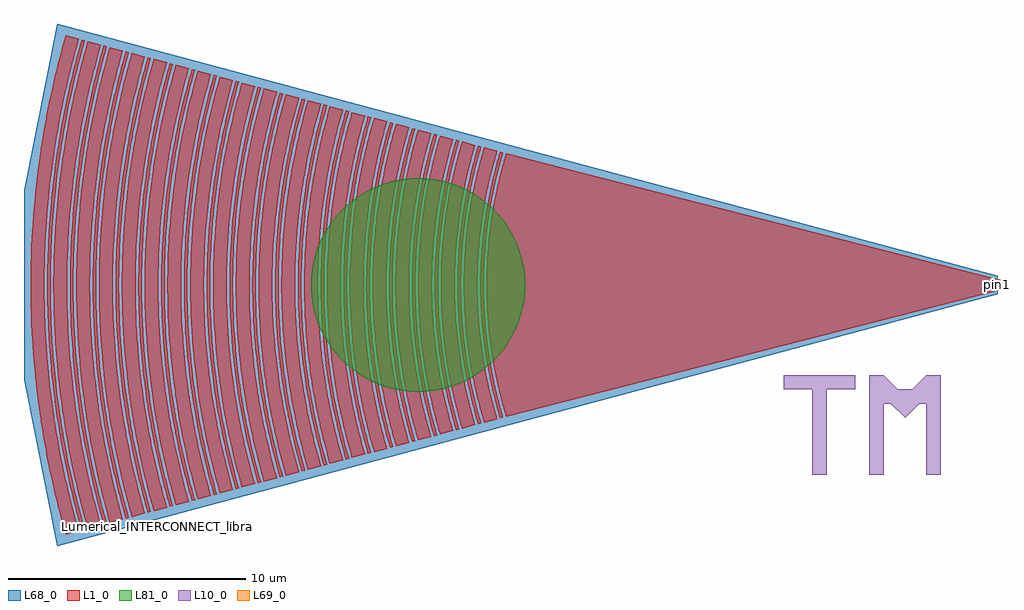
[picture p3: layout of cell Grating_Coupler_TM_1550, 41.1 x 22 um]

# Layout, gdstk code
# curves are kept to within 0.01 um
import gdstk
lib = gdstk.Library(unit=1e-6, precision=1e-09)
def P(c, l, *ps):  # polygons
    for p in ps: c.add(gdstk.Polygon(p, *l))
L1_0 = (1, 0)
L10_0 = (10, 0)
L68_0 = (68, 0)
L69_0 = (69, 0)
L81_0 = (81, 0)

tm1550_subgc_10degree_ox = lib.new_cell('TM1550_SubGC_10degree_oxide')
P(tm1550_subgc_10degree_ox, L1_0, [(-21.903,-4.771),(-22.159,-3.569),(-22.312,-2.582),(-22.429,-1.411),(-22.478,-0.177),(-22.473,0.471),(-22.444,1.176),(-22.341,2.348),(-22.159,3.569),(-21.903,4.771)],
  [(-21.64,-2.331),(-21.744,-1.197),(-21.781,-0.057),(-21.751,1.083),(-21.69,1.879),(-21.64,2.331)],
  [(-22.552,-6.043),(-22.735,-5.395),(-22.911,-4.682),(-23.062,-3.963),(-23.188,-3.238),(-23.281,-2.57),(-23.378,-1.594),(-23.421,-0.859),(-23.438,-0.184),(-23.433,0.491),(-23.387,1.471),(-23.329,2.144),(-23.233,2.935),(-23.128,3.601),(-22.951,4.503),(-22.766,5.277),(-22.552,6.043),(-21.996,5.894),(-22.16,5.32),(-22.334,4.625),(-22.56,3.513),(-22.654,2.922),(-22.744,2.21),(-22.8,1.614),(-22.844,0.898),(-22.863,0.18),(-22.849,-0.778),(-22.8,-1.614),(-22.702,-2.566),(-22.56,-3.513),(-22.412,-4.275),(-22.25,-4.973),(-21.996,-5.894)],
  [(-22.6,-2.393),(-22.699,-1.309),(-22.741,-0.06),(-22.713,1.071),(-22.668,1.724),(-22.6,2.393)],
  [(-24.397,-0.192),(-24.398,-0.128),(-24.398,0.128),(-24.397,0.192)],
  [(-23.823,-4.994),(-24.043,-3.937),(-24.243,-2.612),(-24.345,-1.532),(-24.397,-0.255),(-24.375,1.022),(-24.285,2.231),(-24.211,2.866),(-24.098,3.623),(-23.946,4.438),(-23.823,4.994)],
  [(-23.56,-2.44),(-23.665,-1.24),(-23.701,-0.062),(-23.672,1.116),(-23.62,1.859),(-23.56,2.44)],
  [(-24.782,-5.109),(-25.025,-3.896),(-25.205,-2.649),(-25.308,-1.526),(-25.347,-0.73),(-25.358,-0.133),(-25.331,1.128),(-25.278,1.923),(-25.22,2.517),(-25.047,3.766),(-24.929,4.418),(-24.782,5.109)],
  [(-24.52,-2.496),(-24.62,-1.355),(-24.661,-0.065),(-24.655,0.516),(-24.62,1.355),(-24.52,2.496)],
  [(-25.742,-5.214),(-25.962,-4.112),(-26.16,-2.749),(-26.275,-1.446),(-26.318,-0.138),(-26.29,1.171),(-26.19,2.476),(-26.008,3.84),(-25.874,4.586),(-25.742,5.214)],
  [(-25.48,-2.551),(-25.586,-1.274),(-25.621,-0.067),(-25.615,0.537),(-25.586,1.274),(-25.48,2.551)],
  [(-26.702,-5.321),(-26.833,-4.683),(-26.969,-3.91),(-27.138,-2.637),(-27.204,-1.926),(-27.249,-1.214),(-27.278,-0.143),(-27.249,1.214),(-27.153,2.495),(-27.071,3.204),(-26.969,3.91),(-26.833,4.683),(-26.702,5.321)],
  [(-26.44,-2.604),(-26.545,-1.321),(-26.581,-0.07),(-26.573,0.626),(-26.545,1.321),(-26.44,2.604)],
  [(-27.662,-5.422),(-27.883,-4.267),(-28.069,-2.95),(-28.192,-1.551),(-28.238,-0.148),(-28.208,1.256),(-28.109,2.583),(-28.034,3.244),(-27.919,4.048),(-27.662,5.422)],
  [(-27.4,-2.654),(-27.46,-2.017),(-27.511,-1.225),(-27.541,-0.072),(-27.511,1.225),(-27.46,2.017),(-27.4,2.654)],
  [(-28.622,-5.522),(-28.857,-4.261),(-29.041,-2.899),(-29.155,-1.528),(-29.198,-0.153),(-29.167,1.299),(-29.065,2.671),(-28.881,4.11),(-28.622,5.522)],
  [(-28.36,-2.702),(-28.429,-1.938),(-28.47,-1.268),(-28.501,-0.075),(-28.47,1.268),(-28.429,1.938),(-28.36,2.702)],
  [(-29.582,-5.618),(-29.819,-4.324),(-29.921,-3.621),(-30.013,-2.837),(-30.118,-1.499),(-30.158,-0.158),(-30.13,1.263),(-30.021,2.759),(-29.855,4.09),(-29.741,4.79),(-29.582,5.618)],
  [(-29.32,-2.752),(-29.417,-1.542),(-29.45,-0.771),(-29.461,-0.077),(-29.433,1.234),(-29.381,2.08),(-29.32,2.752)],
  [(-30.542,-5.717),(-30.794,-4.3),(-30.977,-2.846),(-31.077,-1.547),(-31.118,-0.163),(-31.089,1.303),(-30.985,2.765),(-30.794,4.3),(-30.542,5.717)],
  [(-30.28,-2.802),(-30.38,-1.512),(-30.421,-0.08),(-30.392,1.274),(-30.356,1.91),(-30.28,2.802)],
  [(-31.503,-5.807),(-31.757,-4.35),(-31.933,-2.934),(-32.04,-1.511),(-32.078,-0.168),(-32.052,1.259),(-32.01,2.014),(-31.933,2.934),(-31.757,4.35),(-31.503,5.807)],
  [(-31.24,-2.85),(-31.339,-1.56),(-31.381,-0.082),(-31.355,1.232),(-31.314,1.97),(-31.24,2.85)],
  [(-32.463,-5.901),(-32.721,-4.395),(-32.889,-3.022),(-32.999,-1.556),(-33.038,-0.173),(-33.034,0.519),(-32.999,1.556),(-32.889,3.022),(-32.721,4.395),(-32.463,5.901)],
  [(-32.2,-2.895),(-32.298,-1.608),(-32.329,-0.847),(-32.341,-0.085),(-32.314,1.27),(-32.272,2.03),(-32.2,2.895)],
  [(-33.423,-5.993),(-33.633,-4.787),(-33.836,-3.198),(-33.907,-2.401),(-33.958,-1.601),(-33.998,-0.178),(-33.974,1.246),(-33.938,1.957),(-33.862,2.933),(-33.685,4.435),(-33.577,5.138),(-33.423,5.993)],
  [(-33.16,-2.94),(-33.261,-1.569),(-33.301,-0.087),(-33.291,0.785),(-33.261,1.569),(-33.16,2.94)],
  [(-34.383,-6.082),(-34.624,-4.651),(-34.742,-3.743),(-34.818,-3.016),(-34.917,-1.647),(-34.958,-0.183),(-34.948,0.824),(-34.917,1.647),(-34.818,3.016),(-34.742,3.743),(-34.624,4.651),(-34.383,6.082)],
  [(-34.12,-2.989),(-34.22,-1.614),(-34.261,-0.09),(-34.251,0.807),(-34.22,1.614),(-34.12,2.989)],
  [(-35.343,-6.174),(-35.575,-4.778),(-35.766,-3.192),(-35.871,-1.786),(-35.918,-0.188),(-35.889,1.41),(-35.783,3.005),(-35.627,4.406),(-35.505,5.243),(-35.343,6.174)],
  [(-35.08,-3.028),(-35.14,-2.303),(-35.188,-1.475),(-35.221,-0.092),(-35.213,0.738),(-35.188,1.475),(-35.14,2.303),(-35.08,3.028)],
  [(-36.303,-6.261),(-36.567,-4.619),(-36.722,-3.277),(-36.794,-2.412),(-36.844,-1.544),(-36.878,-0.193),(-36.872,0.676),(-36.844,1.544),(-36.74,3.085),(-36.567,4.619),(-36.303,6.261)],
  [(-36.04,-3.079),(-36.147,-1.515),(-36.181,-0.095),(-36.147,1.515),(-36.04,3.079)],
  [(-37.263,-6.35),(-37.506,-4.838),(-37.678,-3.363),(-37.783,-1.98),(-37.822,-1.089),(-37.838,-0.198),(-37.832,0.693),(-37.803,1.584),(-37.705,3.067),(-37.594,4.15),(-37.506,4.838),(-37.263,6.35)],
  [(-37,-3.117),(-37.097,-1.749),(-37.13,-0.875),(-37.141,-0.097),(-37.13,0.875),(-37.106,1.555),(-37,3.117)],
  [(-38.223,-6.436),(-38.458,-4.961),(-38.644,-3.347),(-38.71,-2.537),(-38.762,-1.625),(-38.798,-0.203),(-38.795,0.508),(-38.762,1.625),(-38.662,3.145),(-38.485,4.759),(-38.354,5.664),(-38.223,6.436)],
  [(-37.96,-3.165),(-38.056,-1.795),(-38.09,-0.898),(-38.101,-0.1),(-38.09,0.898),(-38.065,1.595),(-37.96,3.165)],
  [(-39.183,-6.522),(-39.438,-4.877),(-39.61,-3.326),(-39.675,-2.496),(-39.726,-1.561),(-39.758,-0.208),(-39.755,0.52),(-39.726,1.561),(-39.628,3.119),(-39.549,3.947),(-39.438,4.877),(-39.183,6.522)],
  [(-38.92,-3.2),(-38.992,-2.248),(-39.029,-1.533),(-39.061,-0.102),(-39.029,1.533),(-38.992,2.248),(-38.92,3.2)],
  [(-40.143,-6.604),(-40.362,-5.206),(-40.547,-3.619),(-40.665,-2.024),(-40.697,-1.279),(-40.718,-0.213),(-40.715,0.533),(-40.685,1.599),(-40.585,3.194),(-40.418,4.784),(-40.286,5.733),(-40.143,6.604)],
  [(-39.88,-3.243),(-39.979,-1.78),(-40.021,-0.105),(-40.014,0.733),(-39.988,1.571),(-39.937,2.513),(-39.88,3.243)],
  [(-20.697,-5.546),(-20.881,-4.898),(-21.042,-4.243),(-21.159,-3.693),(-21.295,-2.917),(-21.386,-2.248),(-21.449,-1.632),(-21.5,-0.845),(-21.518,-0.169),(-21.512,0.507),(-21.471,1.351),(-21.399,2.136),(-21.32,2.75),(-21.201,3.472),(-21.067,4.133),(-20.881,4.898),(-20.697,5.546),(0,0.25),(0,-0.25)],
  [(-21.903,0.172),(-21.903,4.771),(-21.624,5.794),(-21.069,5.645),(-21.256,4.985),(-21.407,4.375),(-21.56,3.647),(-21.685,2.913),(-21.769,2.288),(-21.833,1.661),(-21.882,0.917)],
  [(-31.24,0.245),(-31.24,2.85),(-31.145,3.686),(-30.976,4.823),(-30.762,5.952),(-30.523,6.991),(-30.223,8.098),(-30.088,8.062),(-30.367,7.039),(-30.641,5.845),(-30.824,4.882),(-31.006,3.67),(-31.099,2.858),(-31.174,1.961),(-31.215,1.226)],
  [(-26.44,0.208),(-26.44,2.604),(-26.396,2.984),(-26.256,3.947),(-26.078,4.904),(-25.861,5.852),(-25.587,6.856),(-25.452,6.82),(-25.708,5.888),(-25.926,4.946),(-26.129,3.858),(-26.257,2.968),(-26.339,2.212),(-26.393,1.522)],
  [(-32.463,0.17),(-32.463,5.901),(-32.18,7.193),(-31.824,8.527),(-31.269,8.379),(-31.558,7.315),(-31.753,6.489),(-31.972,5.408),(-32.151,4.318),(-32.29,3.223),(-32.376,2.292),(-32.44,1.19)],
  [(-24.782,0.26),(-24.782,5.109),(-24.586,5.903),(-24.406,6.54),(-23.851,6.391),(-24.06,5.643),(-24.243,4.888),(-24.363,4.318),(-24.52,3.424),(-24.618,2.718),(-24.71,1.815),(-24.765,0.908)],
  [(-32.2,0.253),(-32.2,2.895),(-32.109,3.715),(-31.896,5.137),(-31.687,6.217),(-31.459,7.205),(-31.151,8.347),(-31.016,8.311),(-31.302,7.255),(-31.584,6.025),(-31.8,4.866),(-31.97,3.699),(-32.079,2.694),(-32.138,1.937),(-32.181,1.096)],
  [(-27.662,0.29),(-27.662,5.422),(-27.442,6.361),(-27.188,7.285),(-26.633,7.136),(-26.864,6.301),(-27.066,5.457),(-27.226,4.678),(-27.383,3.751),(-27.489,2.962),(-27.588,1.953),(-27.637,1.158)],
  [(-33.423,0.175),(-33.423,5.993),(-33.117,7.402),(-32.752,8.776),(-32.196,8.627),(-32.493,7.531),(-32.731,6.511),(-32.934,5.482),(-33.115,4.36),(-33.245,3.318),(-33.34,2.273),(-33.406,1.05)],
  [(-21.64,0.17),(-21.64,2.331),(-21.619,2.501),(-21.5,3.29),(-21.36,4.017),(-21.151,4.903),(-20.951,5.614),(-20.815,5.577),(-21.015,4.871),(-21.187,4.157),(-21.322,3.492),(-21.425,2.878),(-21.521,2.148),(-21.585,1.471),(-21.627,0.736)],
  [(-33.16,0.26),(-33.16,2.94),(-33.052,3.912),(-32.873,5.118),(-32.647,6.316),(-32.373,7.504),(-32.078,8.595),(-31.943,8.559),(-32.279,7.304),(-32.527,6.205),(-32.72,5.182),(-32.89,4.068),(-33.002,3.12),(-33.078,2.255),(-33.137,1.215)],
  [(-27.4,0.215),(-27.4,2.654),(-27.341,3.163),(-27.217,4.019),(-27.021,5.081),(-26.815,5.994),(-26.514,7.104),(-26.379,7.068),(-26.626,6.172),(-26.869,5.126),(-27.067,4.069),(-27.202,3.147),(-27.289,2.363),(-27.351,1.577)],
  [(-34.383,0.18),(-34.383,6.082),(-34.075,7.523),(-33.679,9.024),(-33.124,8.875),(-33.384,7.922),(-33.653,6.786),(-33.849,5.816),(-34.054,4.574),(-34.21,3.324),(-34.291,2.428),(-34.355,1.35)],
  [(-24.52,0.193),(-24.52,2.496),(-24.48,2.832),(-24.347,3.726),(-24.191,4.549),(-23.973,5.49),(-23.732,6.359),(-23.597,6.323),(-23.852,5.397),(-24.04,4.586),(-24.219,3.641),(-24.341,2.816),(-24.472,1.475)],
  [(-34.12,0.268),(-34.12,2.989),(-33.982,4.203),(-33.776,5.531),(-33.571,6.586),(-33.309,7.721),(-33.005,8.844),(-32.87,8.808),(-33.194,7.602),(-33.452,6.472),(-33.668,5.333),(-33.843,4.185),(-33.958,3.21),(-34.036,2.32),(-34.1,1.161)],
  [(-28.622,0.3),(-28.622,5.522),(-28.377,6.577),(-28.115,7.533),(-27.56,7.385),(-27.761,6.665),(-27.991,5.72),(-28.172,4.841),(-28.323,3.955),(-28.452,2.99),(-28.527,2.245),(-28.589,1.348)],
  [(-35.343,0.185),(-35.343,6.174),(-35.034,7.639),(-34.854,8.368),(-34.606,9.273),(-34.051,9.124),(-34.341,8.055),(-34.614,6.885),(-34.828,5.797),(-34.992,4.793),(-35.125,3.785),(-35.234,2.68),(-35.306,1.572)],
  [(-23.823,0.187),(-23.823,4.994),(-23.669,5.617),(-23.479,6.291),(-22.923,6.142),(-23.141,5.364),(-23.288,4.759),(-23.453,3.967),(-23.588,3.168),(-23.706,2.241),(-23.767,1.558),(-23.806,0.873)],
  [(-35.08,0.276),(-35.08,3.028),(-34.97,4.046),(-34.815,5.141),(-34.569,6.501),(-34.288,7.759),(-33.933,9.092),(-33.797,9.056),(-34.13,7.817),(-34.413,6.565),(-34.647,5.302),(-34.831,4.03),(-34.94,3.026),(-35,2.294),(-35.052,1.377)],
  [(-28.36,0.223),(-28.36,2.702),(-28.285,3.348),(-28.13,4.38),(-27.934,5.405),(-27.716,6.348),(-27.442,7.353),(-27.306,7.317),(-27.543,6.46),(-27.797,5.378),(-27.992,4.358),(-28.146,3.331),(-28.231,2.594),(-28.3,1.78),(-28.346,0.891)],
  [(-36.303,0.19),(-36.303,6.261),(-36.159,6.996),(-35.95,7.937),(-35.534,9.521),(-34.978,9.372),(-35.321,8.09),(-35.575,6.98),(-35.775,5.955),(-35.957,4.83),(-36.09,3.793),(-36.199,2.658),(-36.265,1.615)],
  [(-25.742,0.27),(-25.742,5.214),(-25.537,6.06),(-25.333,6.788),(-24.778,6.639),(-25.028,5.732),(-25.184,5.078),(-25.346,4.287),(-25.491,3.424),(-25.603,2.556),(-25.678,1.751),(-25.727,0.876)],
  [(-36.04,0.283),(-36.04,3.079),(-35.912,4.25),(-35.719,5.561),(-35.455,6.956),(-35.202,8.062),(-34.86,9.341),(-34.725,9.304),(-35.043,8.122),(-35.337,6.837),(-35.596,5.447),(-35.773,4.234),(-35.888,3.203),(-35.971,2.169),(-36.022,1.132)],
  [(-29.582,0.31),(-29.582,5.618),(-29.293,6.871),(-29.043,7.782),(-28.487,7.633),(-28.733,6.739),(-28.948,5.837),(-29.118,5.003),(-29.285,4.012),(-29.407,3.091),(-29.497,2.166),(-29.548,1.393)],
  [(-37.263,0.195),(-37.263,6.35),(-37.061,7.372),(-36.91,8.048),(-36.696,8.912),(-36.461,9.77),(-35.906,9.621),(-36.234,8.398),(-36.497,7.26),(-36.722,6.112),(-36.922,4.861),(-37.045,3.894),(-37.164,2.631),(-37.233,1.463)],
  [(-22.6,0.178),(-22.595,2.435),(-22.459,3.376),(-22.304,4.194),(-22.116,5.004),(-21.878,5.862),(-21.743,5.826),(-21.95,5.088),(-22.154,4.226),(-22.32,3.356),(-22.441,2.537),(-22.507,1.949),(-22.563,1.242)],
  [(-37,0.291),(-37,3.117),(-36.853,4.46),(-36.635,5.901),(-36.417,7.046),(-36.138,8.277),(-35.787,9.589),(-35.652,9.553),(-35.978,8.339),(-36.299,6.924),(-36.545,5.592),(-36.714,4.443),(-36.825,3.481),(-36.923,2.323),(-36.978,1.259)],
  [(-29.32,0.23),(-29.32,2.752),(-29.248,3.384),(-29.079,4.528),(-28.877,5.587),(-28.633,6.637),(-28.369,7.601),(-28.234,7.565),(-28.515,6.531),(-28.755,5.485),(-28.953,4.43),(-29.109,3.368),(-29.187,2.682),(-29.258,1.841),(-29.308,0.844)],
  [(-38.223,0.2),(-38.223,6.436),(-38.044,7.361),(-37.848,8.252),(-37.629,9.138),(-37.388,10.018),(-36.833,9.869),(-37.145,8.712),(-37.459,7.349),(-37.669,6.27),(-37.874,4.986),(-38.032,3.696),(-38.129,2.599),(-38.2,1.301)],
  [(-25.48,0.2),(-25.48,2.551),(-25.425,3.009),(-25.296,3.871),(-25.148,4.661),(-24.925,5.64),(-24.66,6.608),(-24.525,6.571),(-24.772,5.674),(-24.997,4.701),(-25.19,3.652),(-25.303,2.861),(-25.43,1.533),(-25.465,0.867)],
  [(-37.96,0.298),(-37.96,3.165),(-37.806,4.575),(-37.616,5.857),(-37.339,7.326),(-37.001,8.781),(-36.714,9.838),(-36.579,9.801),(-36.937,8.46),(-37.222,7.201),(-37.461,5.933),(-37.667,4.558),(-37.8,3.374),(-37.881,2.383),(-37.934,1.391)],
  [(-30.542,0.32),(-30.542,5.717),(-30.287,6.853),(-29.97,8.03),(-29.415,7.882),(-29.648,7.036),(-29.872,6.105),(-30.079,5.087),(-30.248,4.063),(-30.343,3.35),(-30.448,2.316),(-30.518,1.199)],
  [(-39.183,0.205),(-39.183,6.522),(-38.987,7.543),(-38.786,8.457),(-38.562,9.365),(-38.316,10.267),(-37.76,10.118),(-38.029,9.13),(-38.337,7.835),(-38.598,6.528),(-38.811,5.213),(-38.954,4.094),(-39.079,2.767),(-39.147,1.641)],
  [(-23.56,0.185),(-23.56,2.44),(-23.542,2.599),(-23.398,3.58),(-23.26,4.311),(-23.037,5.276),(-22.805,6.111),(-22.67,6.074),(-22.885,5.304),(-23.11,4.346),(-23.28,3.438),(-23.395,2.645),(-23.505,1.541),(-23.546,0.802)],
  [(-38.92,0.306),(-38.92,3.2),(-38.759,4.69),(-38.581,5.904),(-38.302,7.41),(-37.985,8.804),(-37.642,10.086),(-37.507,10.05),(-37.873,8.674),(-38.144,7.483),(-38.392,6.184),(-38.62,4.673),(-38.766,3.357),(-38.839,2.444),(-38.897,1.324)],
  [(-30.28,0.238),(-30.28,2.802),(-30.202,3.494),(-30.014,4.754),(-29.803,5.847),(-29.568,6.853),(-29.296,7.85),(-29.161,7.814),(-29.451,6.745),(-29.682,5.743),(-29.889,4.654),(-30.032,3.714),(-30.135,2.849),(-30.216,1.901),(-30.259,1.11)],
  [(-40.143,0.21),(-40.143,6.604),(-39.972,7.517),(-39.748,8.557),(-39.495,9.591),(-39.243,10.515),(-38.687,10.366),(-39.014,9.151),(-39.365,7.616),(-39.599,6.378),(-39.792,5.133),(-39.943,3.881),(-40.052,2.625),(-40.119,1.366)],
  [(-26.702,0.28),(-26.702,5.321),(-26.489,6.213),(-26.261,7.037),(-25.705,6.888),(-25.929,6.082),(-26.125,5.268),(-26.318,4.31),(-26.432,3.621),(-26.526,2.928),(-26.619,2.025),(-26.678,1.118)],
  [(-39.88,0.313),(-39.88,3.243),(-39.712,4.806),(-39.478,6.359),(-39.223,7.695),(-38.895,9.123),(-38.569,10.335),(-38.434,10.298),(-38.733,9.192),(-39.086,7.668),(-39.34,6.336),(-39.573,4.789),(-39.692,3.752),(-39.79,2.608),(-39.848,1.566)],
  [(-31.503,0.165),(-31.503,5.807),(-31.243,6.984),(-30.897,8.279),(-30.342,8.13),(-30.602,7.178),(-30.865,6.055),(-31.069,5.004),(-31.223,4.027),(-31.352,2.964),(-31.436,1.978),(-31.484,1.072)],
  [(-33.005,-8.844),(-33.309,-7.721),(-33.571,-6.586),(-33.776,-5.531),(-33.982,-4.203),(-34.12,-2.989),(-34.12,-0.268),(-34.1,-1.161),(-34.036,-2.32),(-33.958,-3.21),(-33.843,-4.185),(-33.668,-5.333),(-33.452,-6.472),(-33.194,-7.602),(-32.87,-8.808)],
  [(-23.479,-6.291),(-23.669,-5.617),(-23.823,-4.994),(-23.823,-0.187),(-23.806,-0.873),(-23.767,-1.558),(-23.706,-2.241),(-23.588,-3.168),(-23.453,-3.967),(-23.288,-4.759),(-23.141,-5.364),(-22.923,-6.142)],
  [(-24.406,-6.54),(-24.586,-5.903),(-24.782,-5.109),(-24.782,-0.26),(-24.765,-0.908),(-24.71,-1.815),(-24.618,-2.718),(-24.52,-3.424),(-24.363,-4.318),(-24.243,-4.888),(-24.06,-5.643),(-23.851,-6.391)],
  [(-34.606,-9.273),(-34.854,-8.368),(-35.034,-7.639),(-35.343,-6.174),(-35.343,-0.185),(-35.306,-1.572),(-35.234,-2.68),(-35.125,-3.785),(-34.992,-4.793),(-34.828,-5.797),(-34.614,-6.885),(-34.341,-8.055),(-34.051,-9.124)],
  [(-29.296,-7.85),(-29.568,-6.853),(-29.803,-5.847),(-30.014,-4.754),(-30.202,-3.494),(-30.28,-2.802),(-30.28,-0.238),(-30.259,-1.11),(-30.216,-1.901),(-30.135,-2.849),(-30.032,-3.714),(-29.889,-4.654),(-29.682,-5.743),(-29.451,-6.745),(-29.161,-7.814)],
  [(-26.514,-7.104),(-26.815,-5.994),(-27.021,-5.081),(-27.217,-4.019),(-27.341,-3.163),(-27.4,-2.654),(-27.4,-0.215),(-27.351,-1.577),(-27.289,-2.363),(-27.202,-3.147),(-27.067,-4.069),(-26.869,-5.126),(-26.626,-6.172),(-26.379,-7.068)],
  [(-33.933,-9.092),(-34.288,-7.759),(-34.569,-6.501),(-34.815,-5.141),(-34.97,-4.046),(-35.08,-3.028),(-35.08,-0.276),(-35.052,-1.377),(-35,-2.294),(-34.94,-3.026),(-34.831,-4.03),(-34.647,-5.302),(-34.413,-6.565),(-34.13,-7.817),(-33.797,-9.056)],
  [(-24.66,-6.608),(-24.925,-5.64),(-25.148,-4.661),(-25.296,-3.871),(-25.425,-3.009),(-25.48,-2.551),(-25.48,-0.2),(-25.465,-0.867),(-25.43,-1.533),(-25.303,-2.861),(-25.19,-3.652),(-24.997,-4.701),(-24.772,-5.674),(-24.525,-6.571)],
  [(-30.897,-8.279),(-31.243,-6.984),(-31.503,-5.807),(-31.503,-0.165),(-31.484,-1.072),(-31.436,-1.978),(-31.352,-2.964),(-31.223,-4.027),(-31.069,-5.004),(-30.865,-6.055),(-30.602,-7.178),(-30.342,-8.13)],
  [(-35.534,-9.521),(-35.95,-7.937),(-36.159,-6.996),(-36.303,-6.261),(-36.303,-0.19),(-36.265,-1.615),(-36.199,-2.658),(-36.09,-3.793),(-35.957,-4.83),(-35.775,-5.955),(-35.575,-6.98),(-35.321,-8.09),(-34.978,-9.372)],
  [(-20.951,-5.614),(-21.151,-4.903),(-21.36,-4.017),(-21.5,-3.29),(-21.619,-2.501),(-21.64,-2.331),(-21.64,-0.17),(-21.627,-0.736),(-21.585,-1.471),(-21.521,-2.148),(-21.425,-2.878),(-21.322,-3.492),(-21.187,-4.157),(-21.015,-4.871),(-20.815,-5.577)],
  [(-28.115,-7.533),(-28.377,-6.577),(-28.622,-5.522),(-28.622,-0.3),(-28.589,-1.348),(-28.527,-2.245),(-28.452,-2.99),(-28.323,-3.955),(-28.172,-4.841),(-27.991,-5.72),(-27.761,-6.665),(-27.56,-7.385)],
  [(-34.86,-9.341),(-35.202,-8.062),(-35.455,-6.956),(-35.719,-5.561),(-35.912,-4.25),(-36.04,-3.079),(-36.04,-0.283),(-36.022,-1.132),(-35.971,-2.169),(-35.888,-3.203),(-35.773,-4.234),(-35.596,-5.447),(-35.337,-6.837),(-35.043,-8.122),(-34.725,-9.304)],
  [(-30.223,-8.098),(-30.523,-6.991),(-30.762,-5.952),(-30.976,-4.823),(-31.145,-3.686),(-31.24,-2.85),(-31.24,-0.245),(-31.215,-1.226),(-31.174,-1.961),(-31.099,-2.858),(-31.006,-3.67),(-30.824,-4.882),(-30.641,-5.845),(-30.367,-7.039),(-30.088,-8.062)],
  [(-21.624,-5.794),(-21.903,-4.771),(-21.903,-0.172),(-21.882,-0.917),(-21.833,-1.661),(-21.769,-2.288),(-21.685,-2.913),(-21.56,-3.647),(-21.407,-4.375),(-21.256,-4.985),(-21.069,-5.645)],
  [(-36.461,-9.77),(-36.696,-8.912),(-36.91,-8.048),(-37.061,-7.372),(-37.263,-6.35),(-37.263,-0.195),(-37.233,-1.463),(-37.164,-2.631),(-37.045,-3.894),(-36.922,-4.861),(-36.722,-6.112),(-36.497,-7.26),(-36.234,-8.398),(-35.906,-9.621)],
  [(-26.261,-7.037),(-26.489,-6.213),(-26.702,-5.321),(-26.702,-0.28),(-26.678,-1.118),(-26.619,-2.025),(-26.526,-2.928),(-26.432,-3.621),(-26.318,-4.31),(-26.125,-5.268),(-25.929,-6.082),(-25.705,-6.888)],
  [(-31.824,-8.527),(-32.18,-7.193),(-32.463,-5.901),(-32.463,-0.17),(-32.44,-1.19),(-32.376,-2.292),(-32.29,-3.223),(-32.151,-4.318),(-31.972,-5.408),(-31.753,-6.489),(-31.558,-7.315),(-31.269,-8.379)],
  [(-35.787,-9.589),(-36.138,-8.277),(-36.417,-7.046),(-36.635,-5.901),(-36.853,-4.46),(-37,-3.117),(-37,-0.291),(-36.978,-1.259),(-36.923,-2.323),(-36.825,-3.481),(-36.714,-4.443),(-36.545,-5.592),(-36.299,-6.924),(-35.978,-8.339),(-35.652,-9.553)],
  [(-27.442,-7.353),(-27.716,-6.348),(-27.934,-5.405),(-28.13,-4.38),(-28.285,-3.348),(-28.36,-2.702),(-28.36,-0.223),(-28.346,-0.891),(-28.3,-1.78),(-28.231,-2.594),(-28.146,-3.331),(-27.992,-4.358),(-27.797,-5.378),(-27.543,-6.46),(-27.306,-7.317)],
  [(-23.732,-6.359),(-23.973,-5.49),(-24.191,-4.549),(-24.347,-3.726),(-24.48,-2.832),(-24.52,-2.496),(-24.52,-0.193),(-24.472,-1.475),(-24.341,-2.816),(-24.219,-3.641),(-24.04,-4.586),(-23.852,-5.397),(-23.597,-6.323)],
  [(-37.388,-10.018),(-37.629,-9.138),(-37.848,-8.252),(-38.044,-7.361),(-38.223,-6.436),(-38.223,-0.2),(-38.2,-1.301),(-38.129,-2.599),(-38.032,-3.696),(-37.874,-4.986),(-37.669,-6.27),(-37.459,-7.349),(-37.145,-8.712),(-36.833,-9.869)],
  [(-31.151,-8.347),(-31.459,-7.205),(-31.687,-6.217),(-31.896,-5.137),(-32.109,-3.715),(-32.2,-2.895),(-32.2,-0.253),(-32.181,-1.096),(-32.138,-1.937),(-32.079,-2.694),(-31.97,-3.699),(-31.8,-4.866),(-31.584,-6.025),(-31.302,-7.255),(-31.016,-8.311)],
  [(-22.805,-6.111),(-23.037,-5.276),(-23.26,-4.311),(-23.398,-3.58),(-23.542,-2.599),(-23.56,-2.44),(-23.56,-0.185),(-23.546,-0.802),(-23.505,-1.541),(-23.395,-2.645),(-23.28,-3.438),(-23.11,-4.346),(-22.885,-5.304),(-22.67,-6.074)],
  [(-36.714,-9.838),(-37.001,-8.781),(-37.339,-7.326),(-37.616,-5.857),(-37.806,-4.575),(-37.96,-3.165),(-37.96,-0.298),(-37.934,-1.391),(-37.881,-2.383),(-37.8,-3.374),(-37.667,-4.558),(-37.461,-5.933),(-37.222,-7.201),(-36.937,-8.46),(-36.579,-9.801)],
  [(-29.043,-7.782),(-29.293,-6.871),(-29.582,-5.618),(-29.582,-0.31),(-29.548,-1.393),(-29.497,-2.166),(-29.407,-3.091),(-29.285,-4.012),(-29.118,-5.003),(-28.948,-5.837),(-28.733,-6.739),(-28.487,-7.633)],
  [(-32.752,-8.776),(-33.117,-7.402),(-33.423,-5.993),(-33.423,-0.175),(-33.406,-1.05),(-33.34,-2.273),(-33.245,-3.318),(-33.115,-4.36),(-32.934,-5.482),(-32.731,-6.511),(-32.493,-7.531),(-32.196,-8.627)],
  [(-38.316,-10.267),(-38.562,-9.365),(-38.786,-8.457),(-38.987,-7.543),(-39.183,-6.522),(-39.183,-0.205),(-39.147,-1.641),(-39.079,-2.767),(-38.954,-4.094),(-38.811,-5.213),(-38.598,-6.528),(-38.337,-7.835),(-38.029,-9.13),(-37.76,-10.118)],
  [(-25.587,-6.856),(-25.861,-5.852),(-26.078,-4.904),(-26.256,-3.947),(-26.396,-2.984),(-26.44,-2.604),(-26.44,-0.208),(-26.393,-1.522),(-26.339,-2.212),(-26.257,-2.968),(-26.129,-3.858),(-25.926,-4.946),(-25.708,-5.888),(-25.452,-6.82)],
  [(-21.878,-5.862),(-22.116,-5.004),(-22.304,-4.194),(-22.459,-3.376),(-22.595,-2.435),(-22.6,-0.178),(-22.563,-1.242),(-22.507,-1.949),(-22.441,-2.537),(-22.32,-3.356),(-22.154,-4.226),(-21.95,-5.088),(-21.743,-5.826)],
  [(-37.642,-10.086),(-37.985,-8.804),(-38.302,-7.41),(-38.581,-5.904),(-38.759,-4.69),(-38.92,-3.2),(-38.92,-0.306),(-38.897,-1.324),(-38.839,-2.444),(-38.766,-3.357),(-38.62,-4.673),(-38.392,-6.184),(-38.144,-7.483),(-37.873,-8.674),(-37.507,-10.05)],
  [(-32.078,-8.595),(-32.373,-7.504),(-32.647,-6.316),(-32.873,-5.118),(-33.052,-3.912),(-33.16,-2.94),(-33.16,-0.26),(-33.137,-1.215),(-33.078,-2.255),(-33.002,-3.12),(-32.89,-4.068),(-32.72,-5.182),(-32.527,-6.205),(-32.279,-7.304),(-31.943,-8.559)],
  [(-28.369,-7.601),(-28.633,-6.637),(-28.877,-5.587),(-29.079,-4.528),(-29.248,-3.384),(-29.32,-2.752),(-29.32,-0.23),(-29.308,-0.844),(-29.258,-1.841),(-29.187,-2.682),(-29.109,-3.368),(-28.953,-4.43),(-28.755,-5.485),(-28.515,-6.531),(-28.234,-7.565)],
  [(-39.243,-10.515),(-39.495,-9.591),(-39.748,-8.557),(-39.972,-7.517),(-40.143,-6.604),(-40.143,-0.21),(-40.119,-1.366),(-40.052,-2.625),(-39.943,-3.881),(-39.792,-5.133),(-39.599,-6.378),(-39.365,-7.616),(-39.014,-9.151),(-38.687,-10.366)],
  [(-25.333,-6.788),(-25.537,-6.06),(-25.742,-5.214),(-25.742,-0.27),(-25.727,-0.876),(-25.678,-1.751),(-25.603,-2.556),(-25.491,-3.424),(-25.346,-4.287),(-25.184,-5.078),(-25.028,-5.732),(-24.778,-6.639)],
  [(-33.679,-9.024),(-34.075,-7.523),(-34.383,-6.082),(-34.383,-0.18),(-34.355,-1.35),(-34.291,-2.428),(-34.21,-3.324),(-34.054,-4.574),(-33.849,-5.816),(-33.653,-6.786),(-33.384,-7.922),(-33.124,-8.875)],
  [(-38.569,-10.335),(-38.895,-9.123),(-39.223,-7.695),(-39.478,-6.359),(-39.712,-4.806),(-39.88,-3.243),(-39.88,-0.313),(-39.848,-1.566),(-39.79,-2.608),(-39.692,-3.752),(-39.573,-4.789),(-39.34,-6.336),(-39.086,-7.668),(-38.733,-9.192),(-38.434,-10.298)],
  [(-27.188,-7.285),(-27.442,-6.361),(-27.662,-5.422),(-27.662,-0.29),(-27.637,-1.158),(-27.588,-1.953),(-27.489,-2.962),(-27.383,-3.751),(-27.226,-4.678),(-27.066,-5.457),(-26.864,-6.301),(-26.633,-7.136)],
  [(-29.97,-8.03),(-30.287,-6.853),(-30.542,-5.717),(-30.542,-0.32),(-30.518,-1.199),(-30.448,-2.316),(-30.343,-3.35),(-30.248,-4.063),(-30.079,-5.087),(-29.872,-6.105),(-29.648,-7.036),(-29.415,-7.882)])
tm1550_subgc_10degree_ox.add(gdstk.Label('Ref: Yun Wang, Optics Express, 08/2014', (-39,0), layer=10, texttype=0))
tm1550_subgc_10degree_ox.add(gdstk.Label('http://dx.doi.org/10.1364/OE.22.020652', (-39,-2), layer=10, texttype=0))
tm1550_subgc_10degree_ox.add(gdstk.Label('TM 1550 +10 deg', (-39,2), layer=10, texttype=0))

opticalfibre_9micron = lib.new_cell('OpticalFibre_9micron')
P(opticalfibre_9micron, L81_0, [(-0.221,-4.5),(-0.661,-4.457),(-1.095,-4.37),(-1.518,-4.242),(-1.926,-4.073),(-2.316,-3.864),(-2.684,-3.619),(-3.026,-3.338),(-3.338,-3.026),(-3.619,-2.684),(-3.864,-2.316),(-4.073,-1.926),(-4.242,-1.518),(-4.37,-1.095),(-4.457,-0.661),(-4.5,-0.221),(-4.5,0.221),(-4.457,0.661),(-4.37,1.095),(-4.242,1.518),(-4.073,1.926),(-3.864,2.316),(-3.619,2.684),(-3.338,3.026),(-3.026,3.338),(-2.684,3.619),(-2.316,3.864),(-1.926,4.073),(-1.518,4.242),(-1.095,4.37),(-0.661,4.457),(-0.221,4.5),(0.221,4.5),(0.661,4.457),(1.095,4.37),(1.518,4.242),(1.926,4.073),(2.316,3.864),(2.684,3.619),(3.026,3.338),(3.338,3.026),(3.619,2.684),(3.864,2.316),(4.073,1.926),(4.242,1.518),(4.37,1.095),(4.457,0.661),(4.5,0.221),(4.5,-0.221),(4.457,-0.661),(4.37,-1.095),(4.242,-1.518),(4.073,-1.926),(3.864,-2.316),(3.619,-2.684),(3.338,-3.026),(3.026,-3.338),(2.684,-3.619),(2.316,-3.864),(1.926,-4.073),(1.518,-4.242),(1.095,-4.37),(0.661,-4.457),(0.221,-4.5)])

grating_coupler_tm_1550 = lib.new_cell('Grating_Coupler_TM_1550')
P(grating_coupler_tm_1550, L10_0, [(-7.8,-8),(-7.8,-4.4),(-9,-4.4),(-9,-3.8),(-6,-3.8),(-6,-4.4),(-7.2,-4.4),(-7.2,-8)],
  [(-5.4,-8),(-5.4,-3.8),(-4.8,-3.8),(-4.2,-4.4),(-3.6,-4.4),(-3,-3.8),(-2.4,-3.8),(-2.4,-8),(-3,-8),(-3,-5),(-3.3,-5),(-3.9,-5.6),(-4.5,-5),(-4.8,-5),(-4.8,-8)])
P(grating_coupler_tm_1550, L68_0, [(-39.6,-11),(-41,-4),(-41,4),(-39.6,11),(0,0.4),(0,-0.4)])
grating_coupler_tm_1550.add(gdstk.FlexPath([(0.1,0),(-0.1,0)], 0.5, ends="flush", simple_path=True, layer=69, datatype=0))  # L69_0
grating_coupler_tm_1550.add(gdstk.Reference(tm1550_subgc_10degree_ox, (0,0)))
grating_coupler_tm_1550.add(gdstk.Reference(opticalfibre_9micron, (-24.4,0)))
grating_coupler_tm_1550.add(gdstk.Label('pin1', (0,0), layer=69, texttype=0))
grating_coupler_tm_1550.add(gdstk.Label('Lumerical_INTERCONNECT_library=Design kits/ebeam_v1.2', (-35.36,-10.19), layer=68, texttype=0))

lib.write_gds('Grating_Coupler_TM_1550.gds')
